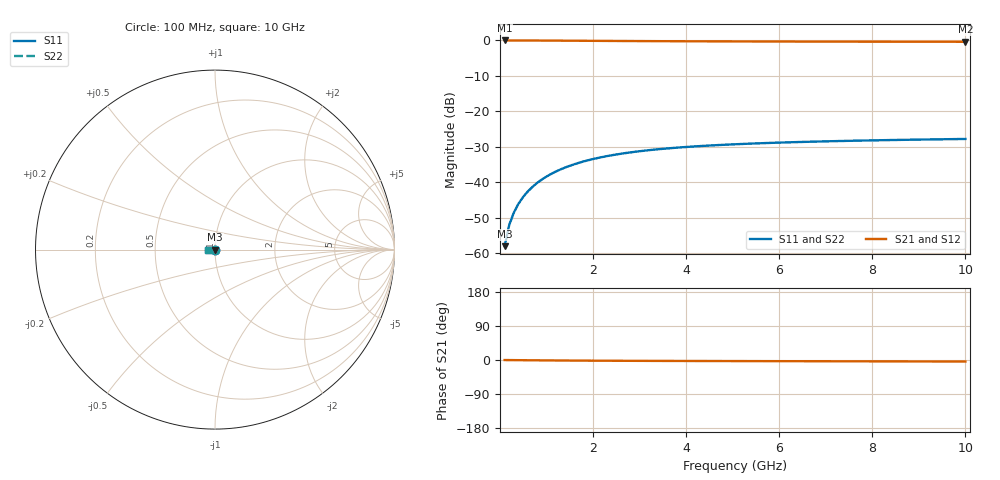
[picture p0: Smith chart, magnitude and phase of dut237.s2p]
! Touchstone file exported from HFSS 2024.1.0
!  File:  C:/UserFiles/LocalFiles/RDL_TSV_Batchsim/temp_TSV1_237_1779389218.aedt
!  Generated:  02:52:56 AM May 22, 2026
!  Design:  TSV1
!  Project:  temp_TSV1_237_1779389218
!  Setup:  Setup1
!  Solution:  Sweep
! Variables:
!  dtsv = 14.11um
!  hbump = 3um
!  htsv = 59.03um
!  lrdl = 252.1521522um
!  p = 40
!  p1 = 57.16um
!  t = 500um
!  trdl = 3um
!  wrdl = 24.89489489um
# GHz S MA R 50.000000
! Terminal data exported
! Port[1] = TSV22_T1
! Port[2] = TSV22_T2
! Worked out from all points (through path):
!   100 points, 100 MHz to 10 GHz, reference 50 ohm
!   highest |S21| = 0.00 dB at 100 MHz (marker M1); lowest = -0.4 dB at 10 GHz (marker M2)
!   lowest |S11| = -58.0 dB at 100 MHz (marker M3), VSWR 1.00, Z = 50 - j0.126 ohm
!   |S11| at or under -10 dB: start of sweep to end of sweep
!   |S22| runs from -58.0 to -27.8 dB; largest |S21 - S12| = 4.1e-15
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0.1  0.001258 -88.8  0.9999 -0.1  0.9999 -0.1  0.001258 -88.8
! Gamma 0 0 0 0
! Port Impedance 50 0 50 0
0.2  0.002514 -92.2  0.9997 -0.2  0.9997 -0.2  0.002514 -92.2
0.3  0.003767 -94.6  0.9995 -0.3  0.9995 -0.3  0.003767 -94.6
0.4  0.005013 -96.8  0.9992 -0.4  0.9992 -0.4  0.005013 -96.8
0.5  0.006244 -98.9  0.9988 -0.6  0.9988 -0.6  0.006244 -98.9
0.6  0.007456 -101.0  0.9983 -0.7  0.9983 -0.7  0.007456 -101.0
0.7  0.008646 -103.0  0.9978 -0.8  0.9978 -0.8  0.008646 -103.0
0.8  0.009811 -104.9  0.9972 -0.9  0.9972 -0.9  0.009811 -104.9
0.9  0.01095 -106.8  0.9966 -1.0  0.9966 -1.0  0.01095 -106.8
1.1  0.01313 -110.5  0.9952 -1.1  0.9952 -1.1  0.01313 -110.5
1.4  0.01616 -115.7  0.9928 -1.4  0.9928 -1.4  0.01616 -115.7
1.6  0.018 -118.9  0.9911 -1.5  0.9911 -1.5  0.018 -118.9
1.8  0.01971 -122.0  0.9894 -1.7  0.9894 -1.7  0.01971 -122.0
2.1  0.02202 -126.3  0.9868 -1.8  0.9868 -1.8  0.02202 -126.3
2.5  0.02468 -131.4  0.9835 -2.0  0.9835 -2.0  0.02468 -131.4
2.9  0.02692 -136.0  0.9805 -2.2  0.9805 -2.2  0.02692 -136.0
3.4  0.02924 -141.1  0.9771 -2.4  0.9771 -2.4  0.02924 -141.1
4.2  0.03212 -147.9  0.9726 -2.6  0.9726 -2.6  0.03212 -147.9
5.1  0.03449 -154.2  0.9687 -2.9  0.9687 -2.9  0.03449 -154.2
6.7  0.03739 -163.0  0.9638 -3.3  0.9638 -3.3  0.03739 -163.0
8.4  0.03943 -170.3  0.9604 -3.7  0.9604 -3.7  0.03943 -170.3
10  0.04085 -176.0  0.9582 -4.1  0.9582 -4.1  0.04085 -176.0
